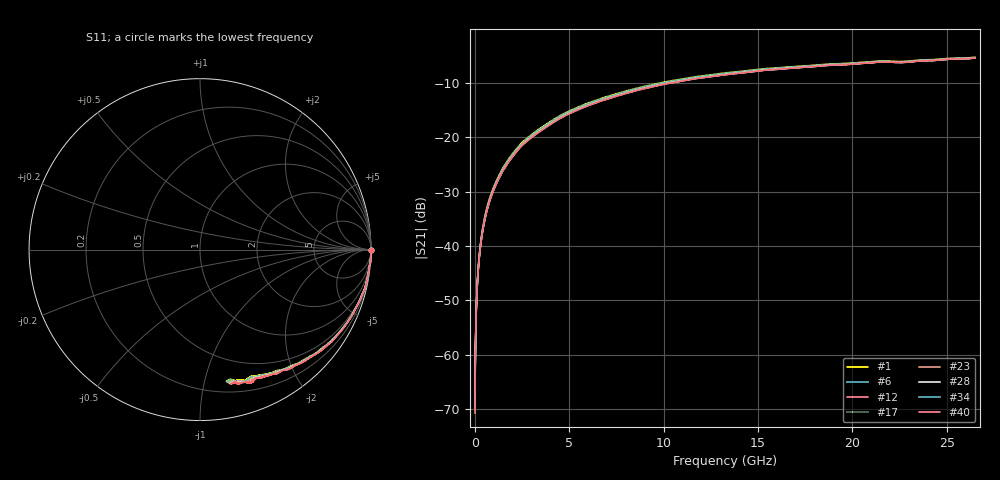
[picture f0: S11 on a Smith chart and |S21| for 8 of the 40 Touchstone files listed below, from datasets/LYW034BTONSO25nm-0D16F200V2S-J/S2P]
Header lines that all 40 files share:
!Keysight Technologies,N5222B,MY61253708,A.15.00.15
!Correction: S11(C  2-Port  )
!S21(C  2-Port  )
!S12(C  2-Port  )
!S22(C  2-Port  )
!S2P File: Measurements: S11, S21, S12, S22:
# Hz S  RI  R 50
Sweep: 10 MHz to 26.5 GHz
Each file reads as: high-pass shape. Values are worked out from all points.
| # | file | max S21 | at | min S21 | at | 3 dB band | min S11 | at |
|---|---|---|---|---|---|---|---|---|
| 1 | LYW034BTONSO25nm_0D16F200V2S_J_N40V_dev.s2p | -5.25 dB | 26.5 GHz | -62.8 dB | 10 MHz | 13.05 GHz-26.5 GHz | -2.2 dB | 25.5 GHz |
| 2 | LYW034BTONSO25nm_0D16F200V2S_J_N42V_dev.s2p | -5.27 dB | 26.5 GHz | -62.9 dB | 20 MHz | 13.06 GHz-26.5 GHz | -2.2 dB | 25.5 GHz |
| 3 | LYW034BTONSO25nm_0D16F200V2S_J_N44V_dev.s2p | -5.28 dB | 26.5 GHz | -64.2 dB | 10 MHz | 13.06 GHz-26.5 GHz | -2.2 dB | 25.5 GHz |
| 4 | LYW034BTONSO25nm_0D16F200V2S_J_N46V_dev.s2p | -5.29 dB | 26.5 GHz | -69.5 dB | 10 MHz | 13.11 GHz-26.5 GHz | -2.2 dB | 25.5 GHz |
| 5 | LYW034BTONSO25nm_0D16F200V2S_J_N48V_dev.s2p | -5.30 dB | 26.5 GHz | -67.0 dB | 10 MHz | 13.12 GHz-26.5 GHz | -2.1 dB | 25.5 GHz |
| 6 | LYW034BTONSO25nm_0D16F200V2S_J_N50V_dev.s2p | -5.31 dB | 26.5 GHz | -65.3 dB | 10 MHz | 13.12 GHz-26.5 GHz | -2.1 dB | 25.5 GHz |
| 7 | LYW034BTONSO25nm_0D16F200V2S_J_N52V_dev.s2p | -5.32 dB | 26.5 GHz | -70.2 dB | 10 MHz | 13.13 GHz-26.5 GHz | -2.1 dB | 25.5 GHz |
| 8 | LYW034BTONSO25nm_0D16F200V2S_J_N54V_dev.s2p | -5.33 dB | 26.5 GHz | -65.2 dB | 20 MHz | 13.14 GHz-26.5 GHz | -2.1 dB | 25.5 GHz |
| 9 | LYW034BTONSO25nm_0D16F200V2S_J_N56V_dev.s2p | -5.33 dB | 26.5 GHz | -71.8 dB | 10 MHz | 13.18 GHz-26.5 GHz | -2.1 dB | 25.5 GHz |
| 10 | LYW034BTONSO25nm_0D16F200V2S_J_N58V_dev.s2p | -5.34 dB | 26.5 GHz | -71.4 dB | 10 MHz | 13.18 GHz-26.5 GHz | -2.1 dB | 25.5 GHz |
| 11 | LYW034BTONSO25nm_0D16F200V2S_J_N60V_dev.s2p | -5.34 dB | 26.49 GHz | -65.4 dB | 10 MHz | 13.22 GHz-26.5 GHz | -2.1 dB | 25.5 GHz |
| 12 | LYW034BTONSO25nm_0D16F200V2S_J_N62V_dev.s2p | -5.35 dB | 26.5 GHz | -64.9 dB | 20 MHz | 13.24 GHz-26.5 GHz | -2.1 dB | 25.5 GHz |
| 13 | LYW034BTONSO25nm_0D16F200V2S_J_N64V_dev.s2p | -5.35 dB | 26.5 GHz | -70.5 dB | 10 MHz | 13.24 GHz-26.5 GHz | -2.1 dB | 25.5 GHz |
| 14 | LYW034BTONSO25nm_0D16F200V2S_J_N66V_dev.s2p | -5.36 dB | 26.5 GHz | -69.4 dB | 10 MHz | 13.25 GHz-26.5 GHz | -2.1 dB | 25.5 GHz |
| 15 | LYW034BTONSO25nm_0D16F200V2S_J_N68V_dev.s2p | -5.36 dB | 26.5 GHz | -63.1 dB | 20 MHz | 13.26 GHz-26.5 GHz | -2.1 dB | 25.5 GHz |
| 16 | LYW034BTONSO25nm_0D16F200V2S_J_N70V_dev.s2p | -5.36 dB | 26.5 GHz | -62.7 dB | 20 MHz | 13.28 GHz-26.5 GHz | -2.1 dB | 25.5 GHz |
| 17 | LYW034BTONSO25nm_0D16F200V2S_J_N72V_dev.s2p | -5.37 dB | 26.5 GHz | -65.3 dB | 10 MHz | 13.28 GHz-26.5 GHz | -2.1 dB | 25.5 GHz |
| 18 | LYW034BTONSO25nm_0D16F200V2S_J_N74V_dev.s2p | -5.37 dB | 26.5 GHz | -70.5 dB | 10 MHz | 13.29 GHz-26.5 GHz | -2.0 dB | 25.5 GHz |
| 19 | LYW034BTONSO25nm_0D16F200V2S_J_N76V_dev.s2p | -5.37 dB | 26.5 GHz | -69.6 dB | 10 MHz | 13.29 GHz-26.5 GHz | -2.0 dB | 25.5 GHz |
| 20 | LYW034BTONSO25nm_0D16F200V2S_J_N78V_dev.s2p | -5.37 dB | 26.5 GHz | -63.6 dB | 20 MHz | 13.3 GHz-26.5 GHz | -2.0 dB | 25.5 GHz |
| 21 | LYW034BTONSO25nm_0D16F200V2S_J_N80V_dev.s2p | -5.38 dB | 26.49 GHz | -70.2 dB | 10 MHz | 13.3 GHz-26.5 GHz | -2.0 dB | 25.5 GHz |
| 22 | LYW034BTONSO25nm_0D16F200V2S_J_N82V_dev.s2p | -5.38 dB | 26.5 GHz | -68.8 dB | 10 MHz | 13.38 GHz-26.5 GHz | -2.0 dB | 25.5 GHz |
| 23 | LYW034BTONSO25nm_0D16F200V2S_J_N84V_dev.s2p | -5.38 dB | 26.5 GHz | -70.7 dB | 10 MHz | 13.38 GHz-26.5 GHz | -2.0 dB | 25.5 GHz |
| 24 | LYW034BTONSO25nm_0D16F200V2S_J_N86V_dev.s2p | -5.38 dB | 26.5 GHz | -64.8 dB | 10 MHz | 13.39 GHz-26.5 GHz | -2.0 dB | 25.5 GHz |
| 25 | LYW034BTONSO25nm_0D16F200V2S_J_N88V_dev.s2p | -5.38 dB | 26.5 GHz | -62.4 dB | 10 MHz | 13.39 GHz-26.5 GHz | -2.0 dB | 25.5 GHz |
| 26 | LYW034BTONSO25nm_0D16F200V2S_J_N90V_dev.s2p | -5.38 dB | 26.5 GHz | -75.7 dB | 10 MHz | 13.39 GHz-26.5 GHz | -2.0 dB | 25.5 GHz |
| 27 | LYW034BTONSO25nm_0D16F200V2S_J_N92V_dev.s2p | -5.38 dB | 26.5 GHz | -83.0 dB | 10 MHz | 13.4 GHz-26.5 GHz | -2.0 dB | 25.5 GHz |
| 28 | LYW034BTONSO25nm_0D16F200V2S_J_N94V_dev.s2p | -5.38 dB | 26.5 GHz | -69.7 dB | 10 MHz | 13.4 GHz-26.5 GHz | -2.0 dB | 25.5 GHz |
| 29 | LYW034BTONSO25nm_0D16F200V2S_J_N96V_dev.s2p | -5.38 dB | 26.5 GHz | -73.6 dB | 10 MHz | 13.4 GHz-26.5 GHz | -2.0 dB | 25.5 GHz |
| 30 | LYW034BTONSO25nm_0D16F200V2S_J_N98V_dev.s2p | -5.39 dB | 26.5 GHz | -69.6 dB | 10 MHz | 13.41 GHz-26.5 GHz | -2.0 dB | 25.5 GHz |
| 31 | LYW034BTONSO25nm_0D16F200V2S_J_N100V_dev.s2p | -5.39 dB | 26.5 GHz | -64.9 dB | 20 MHz | 13.43 GHz-26.5 GHz | -2.0 dB | 25.5 GHz |
| 32 | LYW034BTONSO25nm_0D16F200V2S_J_N102V_dev.s2p | -5.38 dB | 26.5 GHz | -70.4 dB | 10 MHz | 13.44 GHz-26.5 GHz | -2.0 dB | 25.5 GHz |
| 33 | LYW034BTONSO25nm_0D16F200V2S_J_N104V_dev.s2p | -5.39 dB | 26.5 GHz | -65.1 dB | 10 MHz | 13.44 GHz-26.5 GHz | -2.0 dB | 25.5 GHz |
| 34 | LYW034BTONSO25nm_0D16F200V2S_J_N106V_dev.s2p | -5.39 dB | 26.5 GHz | -69.2 dB | 10 MHz | 13.44 GHz-26.5 GHz | -2.0 dB | 25.5 GHz |
| 35 | LYW034BTONSO25nm_0D16F200V2S_J_N108V_dev.s2p | -5.39 dB | 26.5 GHz | -65.7 dB | 20 MHz | 13.45 GHz-26.5 GHz | -2.0 dB | 25.5 GHz |
| 36 | LYW034BTONSO25nm_0D16F200V2S_J_N110V_dev.s2p | -5.39 dB | 26.5 GHz | -63.4 dB | 10 MHz | 13.45 GHz-26.5 GHz | -2.0 dB | 25.5 GHz |
| 37 | LYW034BTONSO25nm_0D16F200V2S_J_N112V_dev.s2p | -5.39 dB | 26.5 GHz | -67.9 dB | 10 MHz | 13.45 GHz-26.5 GHz | -2.0 dB | 25.5 GHz |
| 38 | LYW034BTONSO25nm_0D16F200V2S_J_N114V_dev.s2p | -5.39 dB | 26.5 GHz | -71.0 dB | 10 MHz | 13.45 GHz-26.5 GHz | -2.0 dB | 25.5 GHz |
| 39 | LYW034BTONSO25nm_0D16F200V2S_J_N116V_dev.s2p | -5.39 dB | 26.5 GHz | -79.5 dB | 10 MHz | 13.5 GHz-26.5 GHz | -2.0 dB | 25.5 GHz |
| 40 | LYW034BTONSO25nm_0D16F200V2S_J_N118V_dev.s2p | -5.39 dB | 26.5 GHz | -69.9 dB | 10 MHz | 13.51 GHz-26.5 GHz | -2.0 dB | 25.5 GHz |
